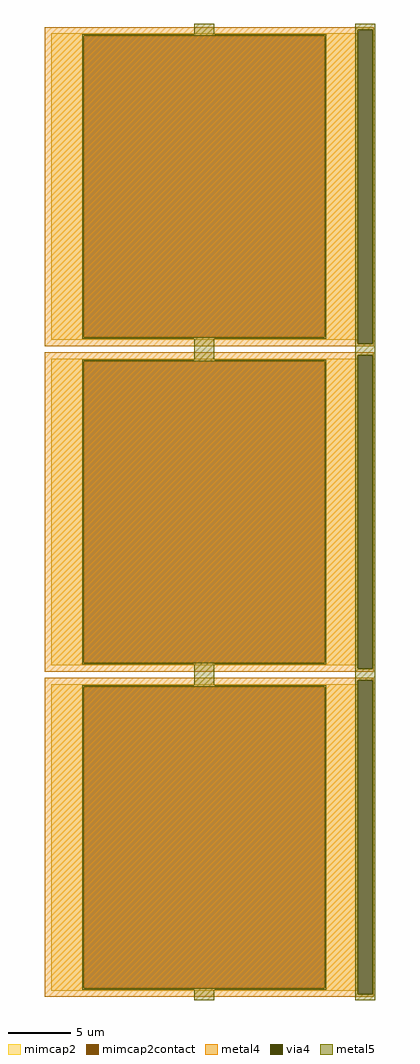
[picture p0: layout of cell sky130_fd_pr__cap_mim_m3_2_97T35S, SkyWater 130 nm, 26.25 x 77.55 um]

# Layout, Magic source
magic
tech sky130A
magscale 1 2
<< metal4 >>
rect -2614 7664 2614 7705
rect -2614 2676 2358 7664
rect 2594 2676 2614 7664
rect -2614 2635 2614 2676
rect -2614 2494 2614 2535
rect -2614 -2494 2358 2494
rect 2594 -2494 2614 2494
rect -2614 -2535 2614 -2494
rect -2614 -2676 2614 -2635
rect -2614 -7664 2358 -2676
rect 2594 -7664 2614 -2676
rect -2614 -7705 2614 -7664
<< via4 >>
rect 2358 2676 2594 7664
rect 2358 -2494 2594 2494
rect 2358 -7664 2594 -2676
<< mimcap2 >>
rect -2514 7565 2356 7605
rect -2514 2775 -1995 7565
rect 1837 2775 2356 7565
rect -2514 2735 2356 2775
rect -2514 2395 2356 2435
rect -2514 -2395 -1995 2395
rect 1837 -2395 2356 2395
rect -2514 -2435 2356 -2395
rect -2514 -2775 2356 -2735
rect -2514 -7565 -1995 -2775
rect 1837 -7565 2356 -2775
rect -2514 -7605 2356 -7565
<< mimcap2contact >>
rect -1995 2775 1837 7565
rect -1995 -2395 1837 2395
rect -1995 -7565 1837 -2775
<< metal5 >>
rect -239 7589 81 7755
rect 2316 7664 2636 7755
rect -2019 7565 1861 7589
rect -2019 2775 -1995 7565
rect 1837 2775 1861 7565
rect -2019 2751 1861 2775
rect -239 2419 81 2751
rect 2316 2676 2358 7664
rect 2594 2676 2636 7664
rect 2316 2494 2636 2676
rect -2019 2395 1861 2419
rect -2019 -2395 -1995 2395
rect 1837 -2395 1861 2395
rect -2019 -2419 1861 -2395
rect -239 -2751 81 -2419
rect 2316 -2494 2358 2494
rect 2594 -2494 2636 2494
rect 2316 -2676 2636 -2494
rect -2019 -2775 1861 -2751
rect -2019 -7565 -1995 -2775
rect 1837 -7565 1861 -2775
rect -2019 -7589 1861 -7565
rect -239 -7755 81 -7589
rect 2316 -7664 2358 -2676
rect 2594 -7664 2636 -2676
rect 2316 -7755 2636 -7664
<< properties >>
string FIXED_BBOX -2614 2635 2456 7705
string gencell sky130_fd_pr__cap_mim_m3_2
string library sky130
string parameters w 24.35 l 24.35 val 1.204k carea 2.00 cperi 0.19 nx 1 ny 3 dummy 0 square 0 lmin 2.00 wmin 2.00 lmax 30.0 wmax 30.0 dc 0 bconnect 1 tconnect 1 ccov 80
<< end >>
